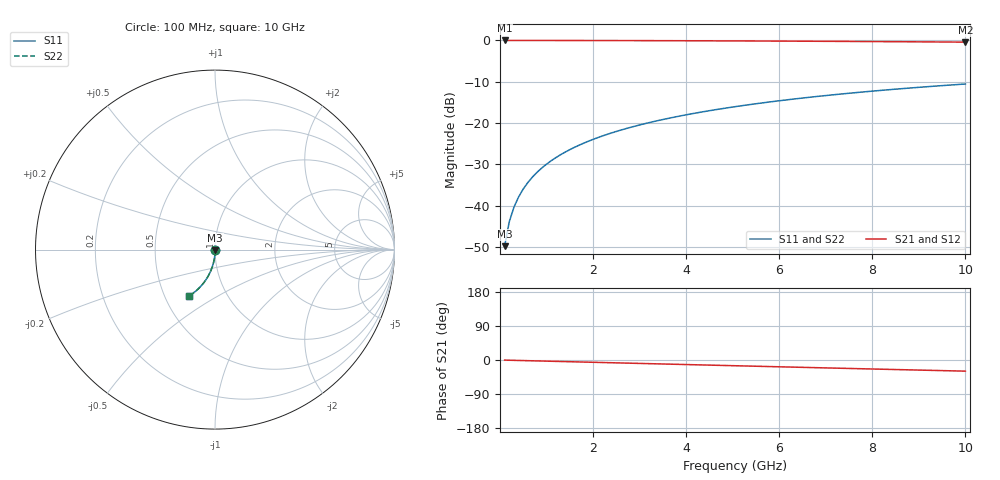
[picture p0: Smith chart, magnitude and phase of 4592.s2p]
# Hz S RI R 50.00
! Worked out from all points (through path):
!   100 points, 100 MHz to 10 GHz, reference 50 ohm
!   highest |S21| = -0.01 dB at 100 MHz (marker M1); lowest = -0.4 dB at 10 GHz (marker M2)
!   group delay of S21, straight-line fit = 8.19 ps
!   lowest |S11| = -49.8 dB at 100 MHz (marker M3), VSWR 1.01, Z = 50.1 - j0.318 ohm
!   |S11| at or under -10 dB: start of sweep to end of sweep
!   |S22| runs from -49.8 to -10.6 dB; largest |S21 - S12| = 0
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1e8  0.000545 -0.00317  0.9994 -0.00525  0.9994 -0.00525  0.000545 -0.00317
2e8  0.000495 -0.00635  0.9993 -0.0105  0.9993 -0.0105  0.000495 -0.00635
3e8  0.00041 -0.00952  0.9992 -0.0157  0.9992 -0.0157  0.00041 -0.00952
4e8  0.000292 -0.0127  0.9991 -0.021  0.9991 -0.021  0.000292 -0.0127
5e8  0.00014 -0.0159  0.9989 -0.0262  0.9989 -0.0262  0.00014 -0.0159
6e8  -4.55e-05 -0.019  0.9987 -0.0315  0.9987 -0.0315  -4.55e-05 -0.019
7e8  -0.000264 -0.0222  0.9985 -0.0367  0.9985 -0.0367  -0.000264 -0.0222
8e8  -0.000517 -0.0254  0.9982 -0.042  0.9982 -0.042  -0.000517 -0.0254
9e8  -0.000802 -0.0285  0.9979 -0.0472  0.9979 -0.0472  -0.000802 -0.0285
1.1e9  -0.00147 -0.0348  0.9971 -0.0577  0.9971 -0.0577  -0.00147 -0.0348
1.4e9  -0.00273 -0.0443  0.9957 -0.0733  0.9957 -0.0733  -0.00273 -0.0443
1.8e9  -0.00486 -0.0568  0.9933 -0.0942  0.9933 -0.0942  -0.00486 -0.0568
2.1e9  -0.0068 -0.0661  0.9911 -0.1097  0.9911 -0.1097  -0.0068 -0.0661
2.5e9  -0.00984 -0.0784  0.9876 -0.1303  0.9876 -0.1303  -0.00984 -0.0784
2.9e9  -0.0134 -0.0905  0.9836 -0.1508  0.9836 -0.1508  -0.0134 -0.0905
3.4e9  -0.0185 -0.1054  0.9778 -0.1762  0.9778 -0.1762  -0.0185 -0.1054
4.2e9  -0.0283 -0.1286  0.9666 -0.2161  0.9666 -0.2161  -0.0283 -0.1286
5.1e9  -0.0415 -0.1536  0.9516 -0.2598  0.9516 -0.2598  -0.0415 -0.1536
5.9e9  -0.055 -0.1744  0.9361 -0.2975  0.9361 -0.2975  -0.055 -0.1744
6.7e9  -0.0701 -0.194  0.9188 -0.3339  0.9188 -0.3339  -0.0701 -0.194
8.4e9  -0.1066 -0.2307  0.8764 -0.4065  0.8764 -0.4065  -0.1066 -0.2307
1e10  -0.1454 -0.2586  0.8309 -0.4684  0.8309 -0.4684  -0.1454 -0.2586
